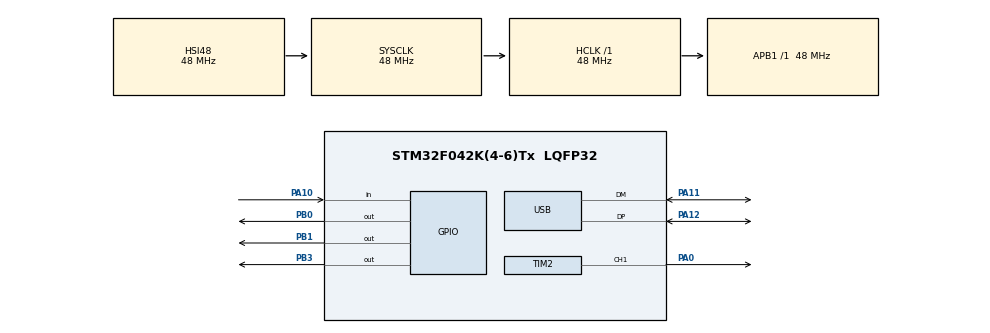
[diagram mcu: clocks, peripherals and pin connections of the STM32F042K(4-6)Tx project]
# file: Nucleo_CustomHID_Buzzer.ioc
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Mcu.Family=STM32F0
Mcu.Name=STM32F042K(4-6)Tx
Mcu.Package=LQFP32
NVIC.USB_IRQn=true\:0\:0\:false\:false\:true\:false\:true\:true
PA0.Signal=S_TIM2_CH1_ETR
PA10.Signal=GPIO_Input
PA11.Mode=Device
PA11.Signal=USB_DM
PA12.Mode=Device
PA12.Signal=USB_DP
PA13.Mode=Serial_Wire
PA13.Signal=SYS_SWDIO
PA14.Mode=Serial_Wire
PA14.Signal=SYS_SWCLK
PB0.Signal=GPIO_Output
PB1.Signal=GPIO_Output
PB3.Signal=GPIO_Output
ProjectManager.HeapSize=0x200
ProjectManager.StackSize=0x400
ProjectManager.TargetToolchain=STM32CubeIDE
RCC.AHBFreq_Value=48000000
RCC.APB1Freq_Value=48000000
RCC.APB1TimFreq_Value=48000000
RCC.HCLKFreq_Value=48000000
RCC.SYSCLKFreq_VALUE=48000000
RCC.SYSCLKSource=RCC_SYSCLKSOURCE_HSI48
SH.S_TIM2_CH1_ETR.0=TIM2_CH1,PWM Generation1 CH1
TIM2.Channel-PWM\ Generation1\ CH1=TIM_CHANNEL_1
USB_DEVICE.CLASS_NAME_FS=CUSTOM_HID
USB_DEVICE.USBD_CUSTOM_HID_REPORT_DESC_SIZE=33
USB_DEVICE.VirtualMode=CustomHid
USB_DEVICE.VirtualModeFS=Custom_Hid_FS
VP_TIM2_VS_ClockSourceINT.Mode=Internal
VP_USB_DEVICE_VS_USB_DEVICE_CUSTOM_HID_FS.Mode=CUSTOM_HID_FS
board=custom

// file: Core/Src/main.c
/* USER CODE BEGIN Header */
/**
  ******************************************************************************
  * @file           : main.c
  * @brief          : Main program body
  ******************************************************************************
  * @attention
  *
  * Copyright (c) 2025 STMicroelectronics.
  * All rights reserved.
  *
  * This software is licensed under terms that can be found in the LICENSE file
  * in the root directory of this software component.
  * If no LICENSE file comes with this software, it is provided AS-IS.
  *
  ******************************************************************************
  */
/* USER CODE END Header */
#include "main.h"
#include "usb_device.h"

TIM_HandleTypeDef htim2;

/* USER CODE BEGIN PV */
// USB HID Buffers
uint8_t tx_buffer[64];
uint8_t report_buffer[64];
uint8_t flag_tx = 0;
uint8_t flag_rx = 0;
extern USBD_HandleTypeDef hUsbDeviceFS;

// 74HC165 Pin Definitions
#define PIN_PL_PORT    GPIOB
#define PIN_PL_PIN     GPIO_PIN_1     // SH/LD (PL) - active LOW latch
#define PIN_CLK_PORT   GPIOB
#define PIN_CLK_PIN    GPIO_PIN_0     // CP (Clock)
#define PIN_DATA_PORT  GPIOA
#define PIN_DATA_PIN   GPIO_PIN_10    // Q7 first chip
#define PIN_CE_PORT    GPIOB
#define PIN_CE_PIN     GPIO_PIN_3     // CE - active HIGH inhibit

#define BUZZER_PORT    GPIOA
#define BUZZER_PIN     GPIO_PIN_0

// Button Mode Enumeration
typedef enum { PRESS_RELEASE, TOGGLE } ButtonMode;

// Button Information Structure
typedef struct {
    const char* baseCmd;
    ButtonMode mode;
    uint8_t lastPhysicalState;
    uint8_t toggleState;
} BtnInfo;

// Combo Information Structure
typedef struct {
    const char* states[4];
    ButtonMode mode;
    uint8_t lastState;
    uint8_t toggleStates[4];
} ComboInfo;

// Button Array (13 regular buttons)
BtnInfo buttonMap[13] = {
    {"A1", PRESS_RELEASE, 0, 0}, {"A2", PRESS_RELEASE, 0, 0},
    {"A3", PRESS_RELEASE, 0, 0}, {"A4", PRESS_RELEASE, 0, 0},
    {"1", TOGGLE, 0, 0}, {"2", PRESS_RELEASE, 0, 0},
    {"3", PRESS_RELEASE, 0, 0}, {"4", PRESS_RELEASE, 0, 0},
    {"5", PRESS_RELEASE, 0, 0}, {"6", PRESS_RELEASE, 0, 0},
    {"7", PRESS_RELEASE, 0, 0}, {"8", PRESS_RELEASE, 0, 0},
    {"9", PRESS_RELEASE, 0, 0}
};

// Combo Button Configuration
ComboInfo combo = {
    {"B1", "B2", "B3", "B4"},
    PRESS_RELEASE,
    0xFF,
    {0, 0, 0, 0}
};

// Timing Variables
uint32_t beepStartTime = 0;
uint32_t beepDuration = 0;
uint8_t beeping = 0;
/* USER CODE END PV */

void SystemClock_Config(void);
static void MX_GPIO_Init(void);
static void MX_TIM2_Init(void);

/* USER CODE BEGIN 0 */
// Bit reversal function
uint8_t reverseBits(uint8_t b) {
    b = (b & 0xF0) >> 4 | (b & 0x0F) << 4;
    b = (b & 0xCC) >> 2 | (b & 0x33) << 2;
    b = (b & 0xAA) >> 1 | (b & 0x55) << 1;
    return b;
}

// Latch inputs from 74HC165
static inline void latchInputs(void) {
    HAL_GPIO_WritePin(PIN_CE_PORT, PIN_CE_PIN, GPIO_PIN_SET);    // inhibit
    HAL_GPIO_WritePin(PIN_PL_PORT, PIN_PL_PIN, GPIO_PIN_RESET);  // latch
    HAL_Delay(1);  // Using HAL_Delay instead of delayMicroseconds
    HAL_GPIO_WritePin(PIN_PL_PORT, PIN_PL_PIN, GPIO_PIN_SET);
    HAL_Delay(1);
}

// Read 8 bits from 74HC165 (LSB first)
uint8_t read165_LSBFIRST_phase(void) {
    uint8_t value = 0;
    for (int i = 0; i < 8; i++) {
        HAL_GPIO_WritePin(PIN_CLK_PORT, PIN_CLK_PIN, GPIO_PIN_RESET);
        HAL_Delay(1);

        if (HAL_GPIO_ReadPin(PIN_DATA_PORT, PIN_DATA_PIN) == GPIO_PIN_SET) {
            value |= (1 << i);
        }

        HAL_GPIO_WritePin(PIN_CLK_PORT, PIN_CLK_PIN, GPIO_PIN_SET);
        HAL_Delay(1);
    }
    return value;
}

// Send command via USB HID
void sendCmd(const char* cmd) {
    // Clear buffer
    memset(tx_buffer, 0, sizeof(tx_buffer));

    // Copy command (first 3 characters: "0x" + command)
    tx_buffer[0] = '0';
    tx_buffer[1] = 'x';
    strncpy((char*)&tx_buffer[2], cmd, 62); // Leave space for null terminator

    // Send via USB HID
    USBD_CUSTOM_HID_SendReport(&hUsbDeviceFS, tx_buffer, 64);
}

void startTone(uint32_t frequency, uint32_t duration) {
    if (frequency == 0) {
        // Stop PWM on TIM2_CH1
        HAL_TIM_PWM_Stop(&htim2, TIM_CHANNEL_1);
        return;
    }

    // Assuming 48 MHz system clock
    uint32_t timer_clk = 48000000;
    // Compute prescaler for given frequency (ARR = 1000)
    uint32_t presc = (timer_clk / (1000U * frequency)) - 1U;

    // Update TIM2 prescaler and period
    __HAL_TIM_SET_PRESCALER(&htim2, presc);
    __HAL_TIM_SET_AUTORELOAD(&htim2, 1000U - 1U);
    // 50% duty cycle
    __HAL_TIM_SET_COMPARE(&htim2, TIM_CHANNEL_1, 500U);

    // Start PWM on PA0 (TIM2_CH1)
    HAL_TIM_PWM_Start(&htim2, TIM_CHANNEL_1);

    // Schedule stop
    beepStartTime = HAL_GetTick();
    beepDuration  = duration;
    beeping       = 1;
}

void stopTone(void) {
    HAL_TIM_PWM_Stop(&htim2, TIM_CHANNEL_1);
    beeping = 0;
}

// Wrapper for 4 kHz beep
void startBeep(uint32_t duration) {
    startTone(4000U, duration);
}

void handleBeep(void) {
    if (beeping && ((HAL_GetTick() - beepStartTime) >= beepDuration)) {
        stopTone();
    }
}

// Process individual button
void processButton(int idx, uint8_t pressedNow) {
    BtnInfo *btn = &buttonMap[idx];

    if (btn->mode == PRESS_RELEASE) {
        if (pressedNow != btn->lastPhysicalState) {
            char cmd[8];
            snprintf(cmd, sizeof(cmd), "%s%d", btn->baseCmd, pressedNow ? 1 : 0);
            sendCmd(cmd);
            btn->lastPhysicalState = pressedNow;
        }
    } else { // TOGGLE mode
        if (!btn->lastPhysicalState && pressedNow) {
            btn->toggleState = !btn->toggleState;
            char cmd[8];
            snprintf(cmd, sizeof(cmd), "%s%d", btn->baseCmd, btn->toggleState ? 1 : 0);
            sendCmd(cmd);
            startBeep(100);  // Beep for 100ms on toggle
        }
        btn->lastPhysicalState = pressedNow;
    }
}

// Process combo buttons
void processCombo(uint8_t state) {
    if (combo.mode == PRESS_RELEASE) {
        if (state != combo.lastState) {
            // Release previous state
            if (combo.lastState != 0xFF) {
                char cmd[8];
                snprintf(cmd, sizeof(cmd), "%s0", combo.states[combo.lastState]);
                sendCmd(cmd);
            }
            // Press new state
            if (state != 0xFF) {
                char cmd[8];
                snprintf(cmd, sizeof(cmd), "%s1", combo.states[state]);
                sendCmd(cmd);
            }
            combo.lastState = state;
        }
    } else { // TOGGLE mode
        if (state != combo.lastState && state != 0xFF) {
            combo.toggleStates[state] = !combo.toggleStates[state];
            char cmd[8];
            snprintf(cmd, sizeof(cmd), "%s%d", combo.states[state], combo.toggleStates[state] ? 1 : 0);
            sendCmd(cmd);
            combo.lastState = state;
        }
    }
}
/* USER CODE END 0 */

int main(void)
{

  /* MCU Configuration--------------------------------------------------------*/

  /* Reset of all peripherals, Initializes the Flash interface and the Systick. */
  HAL_Init();

  /* Configure the system clock */
  SystemClock_Config();

  /* Initialize all configured peripherals */
  MX_GPIO_Init();
  MX_TIM2_Init();
  MX_USB_DEVICE_Init();
  /* USER CODE BEGIN 2 */
  // Initialize tx_buffer with test pattern
  for (uint8_t i = 0; i < 64; i++) {
      tx_buffer[i] = i;
  }

  // Initialize GPIO pins
  HAL_GPIO_WritePin(PIN_PL_PORT, PIN_PL_PIN, GPIO_PIN_SET);
  HAL_GPIO_WritePin(PIN_CLK_PORT, PIN_CLK_PIN, GPIO_PIN_RESET);
  HAL_GPIO_WritePin(PIN_CE_PORT, PIN_CE_PIN, GPIO_PIN_SET);
  /* USER CODE END 2 */

  /* Infinite loop */
  while (1)
  {

	  /* USER CODE BEGIN 3 */
	  // Handle incoming USB data
	  if (flag_rx == 1) {
	      // Check first byte for LED control commands
	      if (report_buffer[0] == 1) {
	          // Turn on onboard LED (if available)
	          // HAL_GPIO_WritePin(LED_PORT, LED_PIN, GPIO_PIN_SET);
	      } else if (report_buffer[0] == 2) {
	          // Turn off onboard LED
	          // HAL_GPIO_WritePin(LED_PORT, LED_PIN, GPIO_PIN_RESET);
	      }
	      flag_rx = 0;
	  }

	  // Read button matrix via 74HC165
	  latchInputs();
	  HAL_GPIO_WritePin(PIN_CLK_PORT, PIN_CLK_PIN, GPIO_PIN_SET);
	  HAL_GPIO_WritePin(PIN_CE_PORT, PIN_CE_PIN, GPIO_PIN_RESET);

	  uint8_t byteU1 = reverseBits(read165_LSBFIRST_phase()) & 0x7F;
	  uint8_t byteU2 = reverseBits(read165_LSBFIRST_phase());

	  HAL_GPIO_WritePin(PIN_CE_PORT, PIN_CE_PIN, GPIO_PIN_SET);
	  HAL_GPIO_WritePin(PIN_CLK_PORT, PIN_CLK_PIN, GPIO_PIN_RESET);

	  int idx = 0;

	  // Process Knobs (U2 0..3)
	  for (int i = 0; i < 4; i++, idx++) {
	      uint8_t pressedNow = (byteU2 >> i) & 1;
	      processButton(idx, pressedNow);
	  }

	  // Process Normal buttons (U2 4..7, U1 0..4)
	  for (int i = 4; i < 8; i++, idx++) {
	      uint8_t pressedNow = (byteU2 >> i) & 1;
	      processButton(idx, pressedNow);
	  }

	  for (int i = 0; i < 5; i++, idx++) {
	      uint8_t pressedNow = (byteU1 >> i) & 1;
	      processButton(idx, pressedNow);
	  }

	  // Process combo state
	  uint8_t comboState = ((byteU1 >> 6) & 1) << 1 | ((byteU1 >> 5) & 1);
	  processCombo(comboState);

	  // Handle buzzer
	  handleBeep();

	  HAL_Delay(50);  // 50ms delay between reads
	  /* USER CODE END 3 */

  }
  /* USER CODE END 3 */
}

void SystemClock_Config(void)
{
  RCC_OscInitTypeDef RCC_OscInitStruct = {0};
  RCC_ClkInitTypeDef RCC_ClkInitStruct = {0};
  RCC_PeriphCLKInitTypeDef PeriphClkInit = {0};

  /** Initializes the RCC Oscillators according to the specified parameters
  * in the RCC_OscInitTypeDef structure.
  */
  RCC_OscInitStruct.OscillatorType = RCC_OSCILLATORTYPE_HSI48;
  RCC_OscInitStruct.HSI48State = RCC_HSI48_ON;
  RCC_OscInitStruct.PLL.PLLState = RCC_PLL_NONE;
  if (HAL_RCC_OscConfig(&RCC_OscInitStruct) != HAL_OK)
  {
    Error_Handler();
  }

  /** Initializes the CPU, AHB and APB buses clocks
  */
  RCC_ClkInitStruct.ClockType = RCC_CLOCKTYPE_HCLK|RCC_CLOCKTYPE_SYSCLK
                              |RCC_CLOCKTYPE_PCLK1;
  RCC_ClkInitStruct.SYSCLKSource = RCC_SYSCLKSOURCE_HSI48;
  RCC_ClkInitStruct.AHBCLKDivider = RCC_SYSCLK_DIV1;
  RCC_ClkInitStruct.APB1CLKDivider = RCC_HCLK_DIV1;

  if (HAL_RCC_ClockConfig(&RCC_ClkInitStruct, FLASH_LATENCY_1) != HAL_OK)
  {
    Error_Handler();
  }
  PeriphClkInit.PeriphClockSelection = RCC_PERIPHCLK_USB;
  PeriphClkInit.UsbClockSelection = RCC_USBCLKSOURCE_HSI48;

  if (HAL_RCCEx_PeriphCLKConfig(&PeriphClkInit) != HAL_OK)
  {
    Error_Handler();
  }
}

static void MX_TIM2_Init(void)
{

  TIM_ClockConfigTypeDef sClockSourceConfig = {0};
  TIM_MasterConfigTypeDef sMasterConfig = {0};
  TIM_OC_InitTypeDef sConfigOC = {0};

  htim2.Instance = TIM2;
  htim2.Init.Prescaler = 0;
  htim2.Init.CounterMode = TIM_COUNTERMODE_UP;
  htim2.Init.Period = 4294967295;
  htim2.Init.ClockDivision = TIM_CLOCKDIVISION_DIV1;
  htim2.Init.AutoReloadPreload = TIM_AUTORELOAD_PRELOAD_DISABLE;
  if (HAL_TIM_Base_Init(&htim2) != HAL_OK)
  {
    Error_Handler();
  }
  sClockSourceConfig.ClockSource = TIM_CLOCKSOURCE_INTERNAL;
  if (HAL_TIM_ConfigClockSource(&htim2, &sClockSourceConfig) != HAL_OK)
  {
    Error_Handler();
  }
  if (HAL_TIM_PWM_Init(&htim2) != HAL_OK)
  {
    Error_Handler();
  }
  sMasterConfig.MasterOutputTrigger = TIM_TRGO_RESET;
  sMasterConfig.MasterSlaveMode = TIM_MASTERSLAVEMODE_DISABLE;
  if (HAL_TIMEx_MasterConfigSynchronization(&htim2, &sMasterConfig) != HAL_OK)
  {
    Error_Handler();
  }
  sConfigOC.OCMode = TIM_OCMODE_PWM1;
  sConfigOC.Pulse = 0;
  sConfigOC.OCPolarity = TIM_OCPOLARITY_HIGH;
  sConfigOC.OCFastMode = TIM_OCFAST_DISABLE;
  if (HAL_TIM_PWM_ConfigChannel(&htim2, &sConfigOC, TIM_CHANNEL_1) != HAL_OK)
  {
    Error_Handler();
  }
  HAL_TIM_MspPostInit(&htim2);

}

static void MX_GPIO_Init(void)
{
  GPIO_InitTypeDef GPIO_InitStruct = {0};

  /* GPIO Ports Clock Enable */
  __HAL_RCC_GPIOA_CLK_ENABLE();
  __HAL_RCC_GPIOB_CLK_ENABLE();

  /*Configure GPIO pin Output Level */
  HAL_GPIO_WritePin(GPIOB, GPIO_PIN_0|GPIO_PIN_1|GPIO_PIN_3, GPIO_PIN_RESET);

  /*Configure GPIO pins : PB0 PB1 PB3 */
  GPIO_InitStruct.Pin = GPIO_PIN_0|GPIO_PIN_1|GPIO_PIN_3;
  GPIO_InitStruct.Mode = GPIO_MODE_OUTPUT_PP;
  GPIO_InitStruct.Pull = GPIO_NOPULL;
  GPIO_InitStruct.Speed = GPIO_SPEED_FREQ_LOW;
  HAL_GPIO_Init(GPIOB, &GPIO_InitStruct);

  /*Configure GPIO pin : PA10 */
  GPIO_InitStruct.Pin = GPIO_PIN_10;
  GPIO_InitStruct.Mode = GPIO_MODE_INPUT;
  GPIO_InitStruct.Pull = GPIO_NOPULL;
  HAL_GPIO_Init(GPIOA, &GPIO_InitStruct);

}

void Error_Handler(void)
{
  __disable_irq();
  while (1)
  {
  }
}
